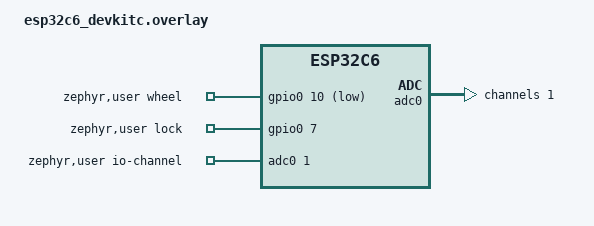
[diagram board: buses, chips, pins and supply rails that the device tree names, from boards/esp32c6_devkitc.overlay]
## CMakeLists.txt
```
# SPDX-License-Identifier: Apache-2.0
cmake_minimum_required(VERSION 3.20.0)

find_package(Zephyr REQUIRED HINTS $ENV{ZEPHYR_BASE})
project(warivo_node_zephyr)

target_sources(app PRIVATE src/main.c)
```

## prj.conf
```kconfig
# Warivo Node — Zephyr build config (ESP32-C6).
#
# The same telemetry node as ../warivo-node (Arduino/NimBLE), rebuilt on a real RTOS:
# Zephyr's scheduler + its own Bluetooth host, instead of the Arduino core over ESP-IDF.
# The BLE contract (service fff0, telemetry notify + gps/config/lock writes) is identical,
# so the phone app talks to either firmware unchanged.

# ---- Bluetooth LE peripheral ----
CONFIG_BT=y
CONFIG_BT_PERIPHERAL=y
CONFIG_BT_DEVICE_NAME="Warivo-Node"
CONFIG_BT_MAX_CONN=1
CONFIG_BT_MAX_PAIRED=1
CONFIG_BT_ATT_PREPARE_COUNT=2

# One telemetry frame must fit a single notification (there is no reassembly in the app),
# so raise the ATT MTU well above the 23-byte default. The client drives the exchange; a
# peer that negotiates lower simply lands lower.
CONFIG_BT_L2CAP_TX_MTU=247
CONFIG_BT_BUF_ACL_RX_SIZE=251
CONFIG_BT_L2CAP_DYNAMIC_CHANNEL=n

# ---- On-board peripherals ----
CONFIG_GPIO=y
CONFIG_ADC=y

# ---- printf needs %f for the JSON frame; ESP32-C6 is soft-float RISC-V ----
CONFIG_CBPRINTF_FP_SUPPORT=y

# ---- Console / logging ----
CONFIG_PRINTK=y
CONFIG_LOG=y
CONFIG_BT_DEVICE_APPEARANCE=0

# ---- Stacks / heap ----
CONFIG_MAIN_STACK_SIZE=4096
CONFIG_SYSTEM_WORKQUEUE_STACK_SIZE=2048
CONFIG_HEAP_MEM_POOL_SIZE=8192
```

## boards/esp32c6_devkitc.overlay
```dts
/*
 * Warivo Node — board wiring for the Waveshare ESP32-C6-WROOM-1 dev board.
 *
 * Mirrors ../../warivo-node.ino's pin map:
 *   battery divider  -> GPIO1  (ADC1 channel 1)
 *   wheel hall/reed  -> GPIO10 (interrupt, pull-up, magnet closes to GND)
 *   immobiliser relay-> GPIO7  (drive, active-high; needs a 10k pull-down in hardware)
 *
 * Node labels (&adc0, &gpio0) and the ADC channel<->GPIO mapping are board-specific —
 * confirm them against zephyr/boards/.../esp32c6_devkitc.dts for the SDK you build with.
 */
#include <zephyr/dt-bindings/adc/adc.h>
#include <zephyr/dt-bindings/gpio/gpio.h>

/ {
	zephyr,user {
		/* battery voltage tap on the ADC */
		io-channels = <&adc0 1>;
		/* one-magnet wheel sensor: idle high, pulses low as the magnet passes */
		wheel-gpios = <&gpio0 10 (GPIO_INPUT | GPIO_PULL_UP | GPIO_ACTIVE_LOW)>;
		/* immobiliser relay in series with the controller key-switch (KSI) line */
		lock-gpios  = <&gpio0 7 GPIO_ACTIVE_HIGH>;
	};
};

&adc0 {
	status = "okay";
	#address-cells = <1>;
	#size-cells = <0>;

	channel@1 {
		reg = <1>;
		zephyr,gain = "ADC_GAIN_1";
		zephyr,reference = "ADC_REF_INTERNAL";
		zephyr,acquisition-time = <ADC_ACQ_TIME_DEFAULT>;
		zephyr,resolution = <12>;
	};
};
```

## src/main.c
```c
/*
 * Warivo Node — ESP32-C6 telemetry firmware, Zephyr edition.
 * ---------------------------------------------------------------------------
 * A drop-in alternative to ../warivo-node/warivo-node.ino, built on the Zephyr
 * RTOS and its own Bluetooth host instead of the Arduino core + NimBLE. The BLE
 * contract is byte-for-byte the same, so the Warivo OS phone app pairs with
 * either firmware without a change:
 *
 *   BLE service fff0
 *     fff1  telemetry  READ + NOTIFY  -> scooter-state JSON, pushed ~5x/sec
 *     fff2  gps        WRITE          <- phone pushes {"lat":..,"lon":..,"spd":..,"ts":..}
 *     fff3  config     WRITE          <- {"beep":1,"beep_cm":40}
 *     fff4  lock       WRITE          <- immobiliser {"lock":1} / {"lock":0}
 *
 * Why a second firmware: Zephyr gives a real preemptive scheduler, a maintained
 * BLE stack, devicetree/Kconfig, a watchdog and OTA — the "proper OS" the audit
 * called for. This file wires the two sensors the reference build always has
 * (battery voltage via ADC, wheel speed via a GPIO interrupt) and the immobiliser
 * relay with the same node-side interlock; per-battery temperature, current and
 * the distance sensor are left as hooks, exactly as the Arduino node gates them
 * behind HAS_* flags, so the emitted frame matches an unwired reference node.
 *
 * Build & flash (host with the Zephyr SDK + west):
 *   west build -b esp32c6_devkitc firmware/warivo-node-zephyr
 *   west flash
 * The app binary is well under 1 MB; the 8 MB (N8) flash leaves room for OTA.
 */

#include <zephyr/kernel.h>
#include <zephyr/bluetooth/bluetooth.h>
#include <zephyr/bluetooth/conn.h>
#include <zephyr/bluetooth/gatt.h>
#include <zephyr/bluetooth/uuid.h>
#include <zephyr/drivers/adc.h>
#include <zephyr/drivers/gpio.h>
#include <zephyr/sys/printk.h>
#include <stdio.h>
#include <stdlib.h>
#include <string.h>

/* ----------------------- USER CONFIG (mirrors the .ino) ----------------------- */
#define BATT_FULL_V      65.0f   /* rested-full 60V lead-acid pack (5 x 12V) */
#define BATT_EMPTY_V     52.5f   /* cutoff */
#define DIVIDER_RATIO    28.0f   /* (R1+R2)/R2 = (270k+10k)/10k; calibrate vs a meter */
#define WHEEL_CIRC_M     1.47f   /* 90/90-12 tyre circumference */
#define MAGNETS_PER_REV  1
#define PACK_CAPACITY_WH 1800.0f /* 60V * 30Ah nominal */
#define WH_PER_KM        25.0f   /* consumption estimate for range */

/* Immobiliser: engage only at/below walking pace, and only after the wheel has been
 * stopped this long. The interlock lives HERE, in the node — the phone is the part most
 * likely to be broken, out of range, or in a thief's pocket. See docs/IMMOBILIZER.md. */
#define LOCK_ACTIVE_HIGH 1
#define LOCK_MAX_KMH     1.5f
#define LOCK_STILL_MS    2000
#define WHEEL_DEBOUNCE_US 3000

#define TELEMETRY_PERIOD_MS 200  /* ~5 Hz */

/* --------------------------- BLE UUIDs (16-bit) --------------------------- */
#define WARIVO_SVC   BT_UUID_DECLARE_16(0xfff0)
#define WARIVO_TELE  BT_UUID_DECLARE_16(0xfff1)
#define WARIVO_GPS   BT_UUID_DECLARE_16(0xfff2)
#define WARIVO_CFG   BT_UUID_DECLARE_16(0xfff3)
#define WARIVO_LOCK  BT_UUID_DECLARE_16(0xfff4)

/* --------------------------- device resources --------------------------- */
#define USER_NODE DT_PATH(zephyr_user)

#if DT_NODE_HAS_PROP(USER_NODE, io_channels)
static const struct adc_dt_spec vbat_adc = ADC_DT_SPEC_GET(USER_NODE);
#define HAS_VBAT 1
#endif

#if DT_NODE_HAS_PROP(USER_NODE, wheel_gpios)
static const struct gpio_dt_spec wheel_gpio = GPIO_DT_SPEC_GET(USER_NODE, wheel_gpios);
static struct gpio_callback wheel_cb;
#define HAS_WHEEL 1
#endif

#if DT_NODE_HAS_PROP(USER_NODE, lock_gpios)
static const struct gpio_dt_spec lock_gpio = GPIO_DT_SPEC_GET(USER_NODE, lock_gpios);
#define HAS_LOCK 1
#endif

/* ------------------------------ node state ------------------------------ */
static volatile uint32_t pulse_count;
static volatile int64_t last_pulse_us;

static double odometer_km;
static float g_v, g_soc, g_spd, g_a, g_w, g_rng;
static float g_tout = -127, g_tbat = -127;   /* -127 = no probe (temps not wired here) */
static float g_dist = -1;                     /* -1 = no distance sensor */
static uint8_t g_gear;                        /* 0 = no gear switch */
static float g_avg, g_whkm, g_mileage;
static uint32_t g_cycles;

static bool g_locked;      /* real relay state */
static bool g_lockReq;     /* requested; differs from g_locked while still rolling */

/* GPS the phone wrote back, and the beep config it pushed. */
static float g_lat, g_lon, g_gspd;
static uint32_t g_gts;
static bool g_beepEnabled;
static float g_beepCm = 40.0f;

static bool notify_enabled;

/* The telemetry frame, rebuilt each tick; also served on a fff1 READ. */
static char frame[251];
static uint16_t frame_len;

/* Thread waits here until main() has brought up the sensors and BLE. */
static K_SEM_DEFINE(ready_sem, 0, 1);

/* ------------------------------ helpers ------------------------------ */

/* Minimal JSON number extractor, matching jsonNum() in the .ino (no JSON library). */
static float json_num(const char *body, const char *key)
{
	char pat[24];
	(void)snprintf(pat, sizeof(pat), "\"%s\"", key);
	const char *k = strstr(body, pat);
	if (!k) {
		return 0.0f;
	}
	const char *colon = strchr(k, ':');
	if (!colon) {
		return 0.0f;
	}
	return strtof(colon + 1, NULL);
}

/* Speed cap for a gear: GEAR km/h, 0 = full (no cap), -1 = unknown. */
static float gear_limit_kmh(uint8_t g)
{
	if (g == 1) {
		return 27.0f;
	}
	if (g == 2) {
		return 36.0f;
	}
	if (g == 3) {
		return 0.0f;
	}
	return -1.0f;
}

/* -------------------------- wheel speed (GPIO IRQ) -------------------------- */
#ifdef HAS_WHEEL
static void wheel_isr(const struct device *port, struct gpio_callback *cb, uint32_t pins)
{
	ARG_UNUSED(port);
	ARG_UNUSED(cb);
	ARG_UNUSED(pins);
	int64_t now = k_ticks_to_us_floor64(k_uptime_ticks());
	if (now - last_pulse_us > WHEEL_DEBOUNCE_US) {   /* debounce a bouncing reed */
		pulse_count++;
		last_pulse_us = now;
	}
}
#endif

/* --------------------------- battery voltage (ADC) --------------------------- */
static float read_pack_voltage(void)
{
#ifdef HAS_VBAT
	int32_t acc = 0;
	int16_t sample = 0;
	struct adc_sequence seq = {
		.buffer = &sample,
		.buffer_size = sizeof(sample),
	};
	(void)adc_sequence_init_dt(&vbat_adc, &seq);

	int used = 0;
	for (int i = 0; i < 16; i++) {
		if (adc_read_dt(&vbat_adc, &seq) != 0) {
			continue;
		}
		int32_t mv = sample;
		if (adc_raw_to_millivolts_dt(&vbat_adc, &mv) != 0) {
			continue;
		}
		acc += mv;
		used++;
	}
	if (used == 0) {
		return 0.0f;
	}
	return ((float)acc / used / 1000.0f) * DIVIDER_RATIO;
#else
	/* No ADC on this board build: model a healthy rested pack so the app still runs. */
	return BATT_FULL_V;
#endif
}

/* --------------------------- immobiliser relay --------------------------- */
static void apply_lock(bool locked)
{
#ifdef HAS_LOCK
	gpio_pin_set_dt(&lock_gpio, (locked == (bool)LOCK_ACTIVE_HIGH) ? 1 : 0);
#endif
	g_locked = locked;
}

/* Release is immediate and unconditional; engage waits for a real standstill. Cutting the
 * controller at speed is how someone comes off, so the node refuses it whatever is asked. */
static void update_lock(void)
{
#ifdef HAS_LOCK
	static int64_t still_since;
	int64_t now = k_uptime_get();

	if (!g_lockReq) {
		if (g_locked) {
			apply_lock(false);
		}
		still_since = 0;
		return;
	}
	if (g_locked) {
		return;
	}
	if (g_spd > LOCK_MAX_KMH) {   /* still rolling: keep waiting */
		still_since = 0;
		return;
	}
	if (still_since == 0) {
		still_since = now;
	}
	if (now - still_since >= LOCK_STILL_MS) {
		apply_lock(true);
	}
#endif
}

/* ------------------------------ sensor tick ------------------------------ */
static void read_sensors(float dt_s)
{
	/* Speed + odometer from the wheel pulse count since the last tick. */
	uint32_t pulses = pulse_count;
	static uint32_t last_pulses;
	uint32_t d = pulses - last_pulses;
	last_pulses = pulses;

	float dist_m = (float)d * WHEEL_CIRC_M / (float)MAGNETS_PER_REV;
	odometer_km += dist_m / 1000.0;
	g_spd = (dt_s > 0.0f) ? (dist_m / dt_s) * 3.6f : 0.0f;

	/* Battery voltage -> state of charge -> range. */
	g_v = read_pack_voltage();
	float soc = (g_v - BATT_EMPTY_V) / (BATT_FULL_V - BATT_EMPTY_V) * 100.0f;
	g_soc = soc < 0.0f ? 0.0f : (soc > 100.0f ? 100.0f : soc);
	g_rng = g_soc / 100.0f * PACK_CAPACITY_WH / WH_PER_KM;
}

/* Build the telemetry JSON — identical keys/precision to telemetryJson() in the .ino.
 * Per-battery temps (the "tb":[..] array) are inserted before "dist" once probes are
 * wired; unwired, the reference node omits them too. */
static void build_frame(void)
{
	int n = snprintf(frame, sizeof(frame),
		"{\"v\":%.1f,\"soc\":%.0f,\"spd\":%.1f,\"odo\":%.2f,"
		"\"a\":%.1f,\"w\":%.0f,\"rng\":%.1f,"
		"\"tout\":%.0f,\"tbat\":%.0f,"
		"\"dist\":%.0f,\"gear\":%d,\"glim\":%.0f,"
		"\"avg\":%.1f,\"whkm\":%.0f,\"mil\":%.1f,\"cyc\":%u,"
		"\"lock\":%d,\"lockq\":%d,\"up\":%lld}",
		(double)g_v, (double)g_soc, (double)g_spd, odometer_km,
		(double)g_a, (double)g_w, (double)g_rng,
		(double)g_tout, (double)g_tbat,
		(double)g_dist, g_gear, (double)gear_limit_kmh(g_gear),
		(double)g_avg, (double)g_whkm, (double)g_mileage, g_cycles,
		g_locked ? 1 : 0, (g_lockReq && !g_locked) ? 1 : 0,
		(long long)k_uptime_get());

	if (n < 0) {
		n = 0;
	} else if (n >= (int)sizeof(frame)) {
		n = sizeof(frame) - 1;
	}
	frame_len = (uint16_t)n;
}

/* ------------------------------ GATT server ------------------------------ */

static ssize_t read_tele(struct bt_conn *conn, const struct bt_gatt_attr *attr,
			 void *buf, uint16_t len, uint16_t offset)
{
	return bt_gatt_attr_read(conn, attr, buf, len, offset, frame, frame_len);
}

static void tele_ccc_changed(const struct bt_gatt_attr *attr, uint16_t value)
{
	notify_enabled = (value == BT_GATT_CCC_NOTIFY);
}

static ssize_t write_gps(struct bt_conn *conn, const struct bt_gatt_attr *attr,
			 const void *buf, uint16_t len, uint16_t offset, uint8_t flags)
{
	char tmp[128];
	uint16_t n = len < sizeof(tmp) - 1 ? len : sizeof(tmp) - 1;
	memcpy(tmp, buf, n);
	tmp[n] = '\0';
	g_lat = json_num(tmp, "lat");
	g_lon = json_num(tmp, "lon");
	g_gspd = json_num(tmp, "spd");
	g_gts = (uint32_t)json_num(tmp, "ts");
	return len;
}

static ssize_t write_cfg(struct bt_conn *conn, const struct bt_gatt_attr *attr,
			 const void *buf, uint16_t len, uint16_t offset, uint8_t flags)
{
	char tmp[64];
	uint16_t n = len < sizeof(tmp) - 1 ? len : sizeof(tmp) - 1;
	memcpy(tmp, buf, n);
	tmp[n] = '\0';
	g_beepEnabled = json_num(tmp, "beep") > 0.5f;
	float cm = json_num(tmp, "beep_cm");
	if (cm > 5.0f) {
		g_beepCm = cm;
	}
	return len;
}

static ssize_t write_lock(struct bt_conn *conn, const struct bt_gatt_attr *attr,
			  const void *buf, uint16_t len, uint16_t offset, uint8_t flags)
{
	char tmp[32];
	uint16_t n = len < sizeof(tmp) - 1 ? len : sizeof(tmp) - 1;
	memcpy(tmp, buf, n);
	tmp[n] = '\0';
	g_lockReq = json_num(tmp, "lock") > 0.5f;   /* update_lock() enforces the interlock */
	return len;
}

BT_GATT_SERVICE_DEFINE(warivo_svc,
	BT_GATT_PRIMARY_SERVICE(WARIVO_SVC),
	BT_GATT_CHARACTERISTIC(WARIVO_TELE, BT_GATT_CHRC_READ | BT_GATT_CHRC_NOTIFY,
			       BT_GATT_PERM_READ, read_tele, NULL, NULL),
	BT_GATT_CCC(tele_ccc_changed, BT_GATT_PERM_READ | BT_GATT_PERM_WRITE),
	BT_GATT_CHARACTERISTIC(WARIVO_GPS, BT_GATT_CHRC_WRITE | BT_GATT_CHRC_WRITE_WITHOUT_RESP,
			       BT_GATT_PERM_WRITE, NULL, write_gps, NULL),
	BT_GATT_CHARACTERISTIC(WARIVO_CFG, BT_GATT_CHRC_WRITE,
			       BT_GATT_PERM_WRITE, NULL, write_cfg, NULL),
	BT_GATT_CHARACTERISTIC(WARIVO_LOCK, BT_GATT_CHRC_WRITE,
			       BT_GATT_PERM_WRITE, NULL, write_lock, NULL),
);

/* attrs[1] is the fff1 (telemetry) characteristic — the target for notifications. */
#define TELE_ATTR (&warivo_svc.attrs[1])

/* ------------------------------ advertising ------------------------------ */
static const struct bt_data ad[] = {
	BT_DATA_BYTES(BT_DATA_FLAGS, (BT_LE_AD_GENERAL | BT_LE_AD_NO_BREDR)),
	BT_DATA_BYTES(BT_DATA_UUID16_ALL, BT_UUID_16_ENCODE(0xfff0)),
	BT_DATA(BT_DATA_NAME_COMPLETE, "Warivo-Node", sizeof("Warivo-Node") - 1),
};

static void start_adv(void)
{
	int err = bt_le_adv_start(BT_LE_ADV_CONN_FAST_1, ad, ARRAY_SIZE(ad), NULL, 0);
	if (err) {
		printk("advertising failed (err %d)\n", err);
	}
}

static void connected(struct bt_conn *conn, uint8_t err)
{
	printk(err ? "connect failed (0x%02x)\n" : "phone connected\n", err);
}

static void disconnected(struct bt_conn *conn, uint8_t reason)
{
	printk("phone disconnected (0x%02x)\n", reason);
	notify_enabled = false;
	start_adv();   /* let the phone find us again */
}

BT_CONN_CB_DEFINE(conn_callbacks) = {
	.connected = connected,
	.disconnected = disconnected,
};

/* --------------------------- telemetry thread --------------------------- */
static void telemetry_thread(void *a, void *b, void *c)
{
	ARG_UNUSED(a);
	ARG_UNUSED(b);
	ARG_UNUSED(c);

	k_sem_take(&ready_sem, K_FOREVER);   /* wait for sensors + BLE to come up */

	int64_t last = k_uptime_get();
	while (1) {
		int64_t now = k_uptime_get();
		float dt = (now - last) / 1000.0f;
		last = now;

		read_sensors(dt);
		update_lock();
		build_frame();

		if (notify_enabled) {
			(void)bt_gatt_notify(NULL, TELE_ATTR, frame, frame_len);
		}
		k_msleep(TELEMETRY_PERIOD_MS);
	}
}

K_THREAD_DEFINE(telemetry_tid, 2048, telemetry_thread, NULL, NULL, NULL, 7, 0, 0);

/* ------------------------------ bring-up ------------------------------ */
static void sensors_init(void)
{
#ifdef HAS_VBAT
	if (adc_channel_setup_dt(&vbat_adc) != 0) {
		printk("ADC channel setup failed\n");
	}
#endif
#ifdef HAS_WHEEL
	if (gpio_is_ready_dt(&wheel_gpio)) {
		gpio_pin_configure_dt(&wheel_gpio, GPIO_INPUT);
		gpio_pin_interrupt_configure_dt(&wheel_gpio, GPIO_INT_EDGE_TO_ACTIVE);
		gpio_init_callback(&wheel_cb, wheel_isr, BIT(wheel_gpio.pin));
		gpio_add_callback(wheel_gpio.port, &wheel_cb);
	}
#endif
#ifdef HAS_LOCK
	if (gpio_is_ready_dt(&lock_gpio)) {
		/* Boot released — an unwired or freshly powered node never immobilises itself. */
		gpio_pin_configure_dt(&lock_gpio, GPIO_OUTPUT_INACTIVE);
	}
#endif
}

int main(void)
{
	printk("Warivo Node (Zephyr) starting\n");

	sensors_init();

	int err = bt_enable(NULL);
	if (err) {
		printk("bt_enable failed (err %d)\n", err);
		return 0;
	}
	start_adv();
	printk("advertising as Warivo-Node (service fff0)\n");

	k_sem_give(&ready_sem);   /* release the telemetry thread */
	return 0;
}
```
